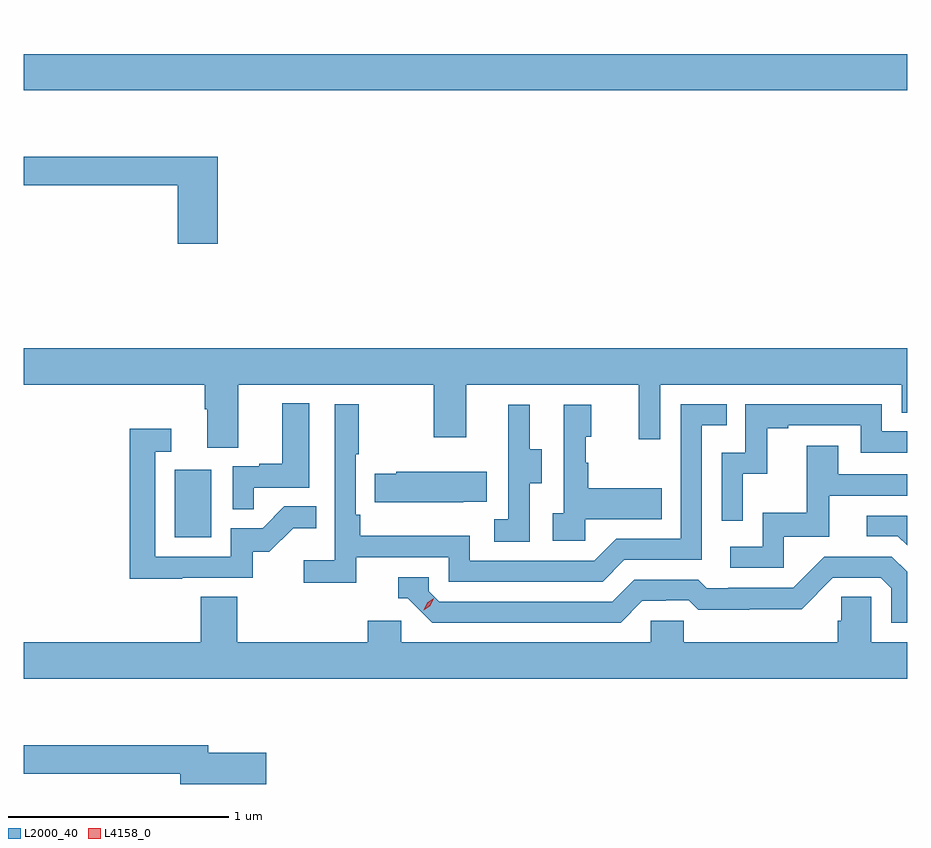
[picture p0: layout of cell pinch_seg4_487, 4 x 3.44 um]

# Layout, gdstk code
import gdstk
lib = gdstk.Library(unit=1e-6, precision=1e-09)
def R(c, l, rs):  # rectangles x0, y0, x1, y1
    for r in rs: c.add(gdstk.rectangle(r[:2], r[2:], *l))
def P(c, l, *ps):  # polygons
    for p in ps: c.add(gdstk.Polygon(p, *l))
L2000_40 = (2000, 40)
L4158_0 = (4158, 0)

pinch_seg4_487 = lib.new_cell('pinch_seg4_487')
R(pinch_seg4_487, L2000_40, [(901.472,768.156,901.636,768.463), (900.788,770.18,904.788,770.344), (904.587,770.48,904.788,770.481)])
P(pinch_seg4_487, L2000_40, [(901.667,769.879),(900.788,769.879),(900.788,769.75),(901.484,769.75),(901.484,769.485),(901.667,769.485)],
  [(901.759,768.848),(902.644,768.848),(902.644,768.609),(902.791,768.609),(902.791,768.848),(903.572,768.848),(903.572,768.6),(903.669,768.6),(903.669,768.848),(904.764,768.848),(904.764,768.721),(904.788,768.721),(904.788,769.012),(900.788,769.012),(900.788,768.848),(901.607,768.848),(901.607,768.736),(901.619,768.736),(901.619,768.562),(901.759,768.562)],
  [(901.829,768.381),(902.08,768.381),(902.08,768.763),(901.958,768.763),(901.958,768.49),(901.855,768.49),(901.855,768.477),(901.734,768.477),(901.734,768.283),(901.829,768.283)],
  [(902.294,768.066),(902.712,768.066),(902.712,767.955),(903.409,767.955),(903.508,768.054),(903.858,768.054),(903.858,768.663),(903.971,768.663),(903.971,768.759),(903.762,768.759),(903.762,768.15),(903.471,768.15),(903.372,768.051),(902.808,768.051),(902.808,768.163),(902.312,768.163),(902.312,768.259),(902.292,768.259),(902.292,768.532),(902.305,768.532),(902.305,768.76),(902.196,768.76),(902.196,768.052),(902.055,768.052),(902.055,767.95),(902.294,767.95)],
  [(904.044,768.443),(904.154,768.443),(904.154,768.651),(904.249,768.651),(904.249,768.663),(904.578,768.663),(904.578,768.54),(904.788,768.54),(904.788,768.636),(904.674,768.636),(904.674,768.759),(904.056,768.759),(904.056,768.54),(903.948,768.54),(903.948,768.231),(904.044,768.231)],
  [(903.33,768.239),(903.677,768.239),(903.677,768.379),(903.343,768.379),(903.343,768.494),(903.333,768.494),(903.333,768.612),(903.358,768.612),(903.358,768.757),(903.234,768.757),(903.234,768.266),(903.183,768.266),(903.183,768.141),(903.33,768.141)],
  [(903.078,768.4),(903.133,768.4),(903.133,768.555),(903.079,768.555),(903.079,768.757),(902.981,768.757),(902.981,768.543),(902.982,768.543),(902.982,768.239),(902.919,768.239),(902.919,768.136),(903.078,768.136)],
  [(901.505,767.973),(901.824,767.973),(901.824,768.09),(901.9,768.09),(902.007,768.197),(902.111,768.197),(902.111,768.296),(901.968,768.296),(901.87,768.198),(901.725,768.198),(901.725,768.069),(901.383,768.069),(901.383,768.543),(901.456,768.543),(901.456,768.649),(901.267,768.649),(901.267,767.968),(901.505,767.968)],
  [(904.23,768.159),(904.435,768.159),(904.435,768.345),(904.788,768.345),(904.788,768.441),(904.477,768.441),(904.477,768.571),(904.333,768.571),(904.333,768.268),(904.134,768.268),(904.134,768.114),(903.987,768.114),(903.987,768.018),(904.23,768.018)],
  [(902.777,768.317),(902.885,768.317),(902.885,768.454),(902.475,768.454),(902.475,768.444),(902.377,768.444),(902.377,768.314),(902.777,768.314)],
  [(904.788,768.255),(904.605,768.255),(904.605,768.162),(904.746,768.162),(904.788,768.12)],
  [(903.589,767.868),(903.696,767.868),(903.696,767.871),(903.799,767.871),(903.841,767.829),(904.074,767.829),(904.074,767.831),(904.31,767.831),(904.452,767.973),(904.668,767.973),(904.716,767.925),(904.716,767.769),(904.788,767.769),(904.788,768),(904.719,768.069),(904.413,768.069),(904.272,767.928),(903.979,767.928),(903.979,767.925),(903.88,767.925),(903.841,767.964),(903.552,767.964),(903.453,767.865),(902.67,767.865),(902.622,767.913),(902.622,767.976),(902.483,767.976),(902.483,767.88),(902.526,767.88),(902.637,767.769),(903.49,767.769)],
  [(904.788,767.68),(904.626,767.68),(904.626,767.888),(904.489,767.888),(904.489,767.778),(904.475,767.778),(904.475,767.68),(903.777,767.68),(903.777,767.778),(903.627,767.778),(903.627,767.68),(902.496,767.68),(902.496,767.778),(902.345,767.778),(902.345,767.68),(901.754,767.68),(901.754,767.888),(901.589,767.888),(901.589,767.68),(900.788,767.68),(900.788,767.516),(904.788,767.516)],
  [(901.885,767.181),(901.624,767.181),(901.624,767.215),(900.788,767.215),(900.788,767.086),(901.496,767.086),(901.496,767.039),(901.885,767.039)])
P(pinch_seg4_487, L4158_0, [(902.599,767.827),(902.599,767.827),(902.614,767.86),(902.644,767.88),(902.644,767.88),(902.644,767.88),(902.629,767.847),(902.599,767.827)])

lib.write_gds('pinch_seg4_487.gds')
